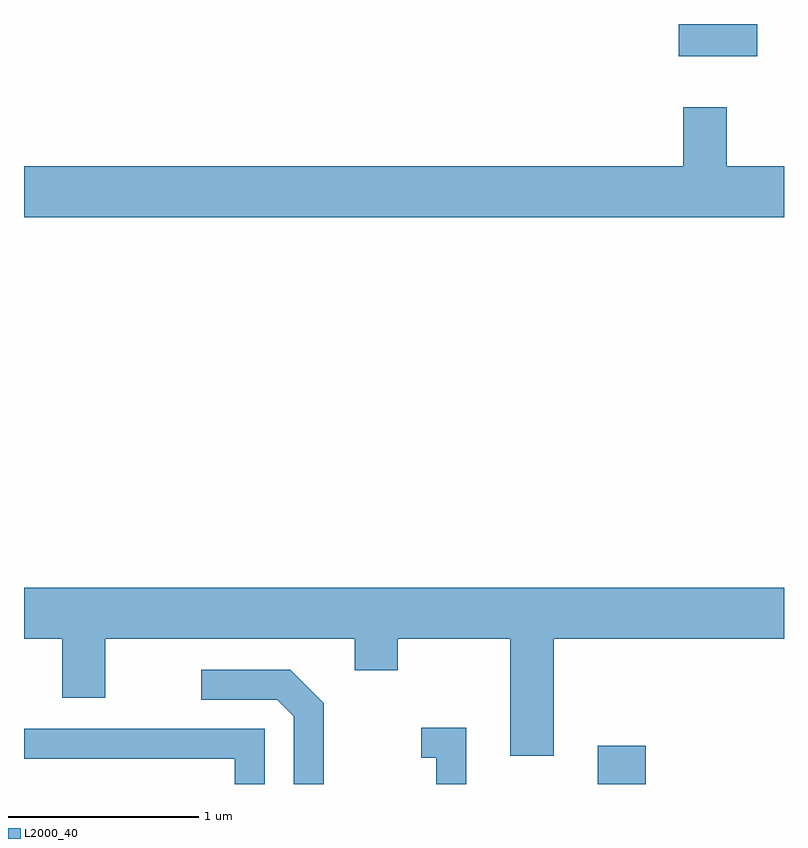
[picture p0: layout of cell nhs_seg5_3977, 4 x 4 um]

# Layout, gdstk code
import gdstk
lib = gdstk.Library(unit=1e-6, precision=1e-09)
def R(c, l, rs):  # rectangles x0, y0, x1, y1
    for r in rs: c.add(gdstk.rectangle(r[:2], r[2:], *l))
def P(c, l, *ps):  # polygons
    for p in ps: c.add(gdstk.Polygon(p, *l))
L2000_40 = (2000, 40)

nhs_seg5_3977 = lib.new_cell('nhs_seg5_3977')
R(nhs_seg5_3977, L2000_40, [(306.631,1416.072,306.884,1416.274), (307.056,1419.901,307.469,1420.072)])
P(nhs_seg5_3977, L2000_40, [(307.611,1419.324),(307.309,1419.324),(307.309,1419.634),(307.081,1419.634),(307.081,1419.324),(303.611,1419.324),(303.611,1419.056),(307.611,1419.056)],
  [(306.399,1416.836),(307.611,1416.836),(307.611,1417.104),(303.611,1417.104),(303.611,1416.836),(303.811,1416.836),(303.811,1416.526),(304.039,1416.526),(304.039,1416.836),(305.351,1416.836),(305.351,1416.671),(305.579,1416.671),(305.579,1416.836),(306.171,1416.836),(306.171,1416.221),(306.399,1416.221)],
  [(305.189,1416.497),(305.012,1416.674),(304.543,1416.674),(304.543,1416.516),(304.944,1416.516),(305.031,1416.429),(305.031,1416.072),(305.189,1416.072)],
  [(305.939,1416.369),(305.703,1416.369),(305.703,1416.211),(305.781,1416.211),(305.781,1416.072),(305.939,1416.072)],
  [(304.879,1416.364),(303.611,1416.364),(303.611,1416.206),(304.721,1416.206),(304.721,1416.072),(304.879,1416.072)])

lib.write_gds('nhs_seg5_3977.gds')
